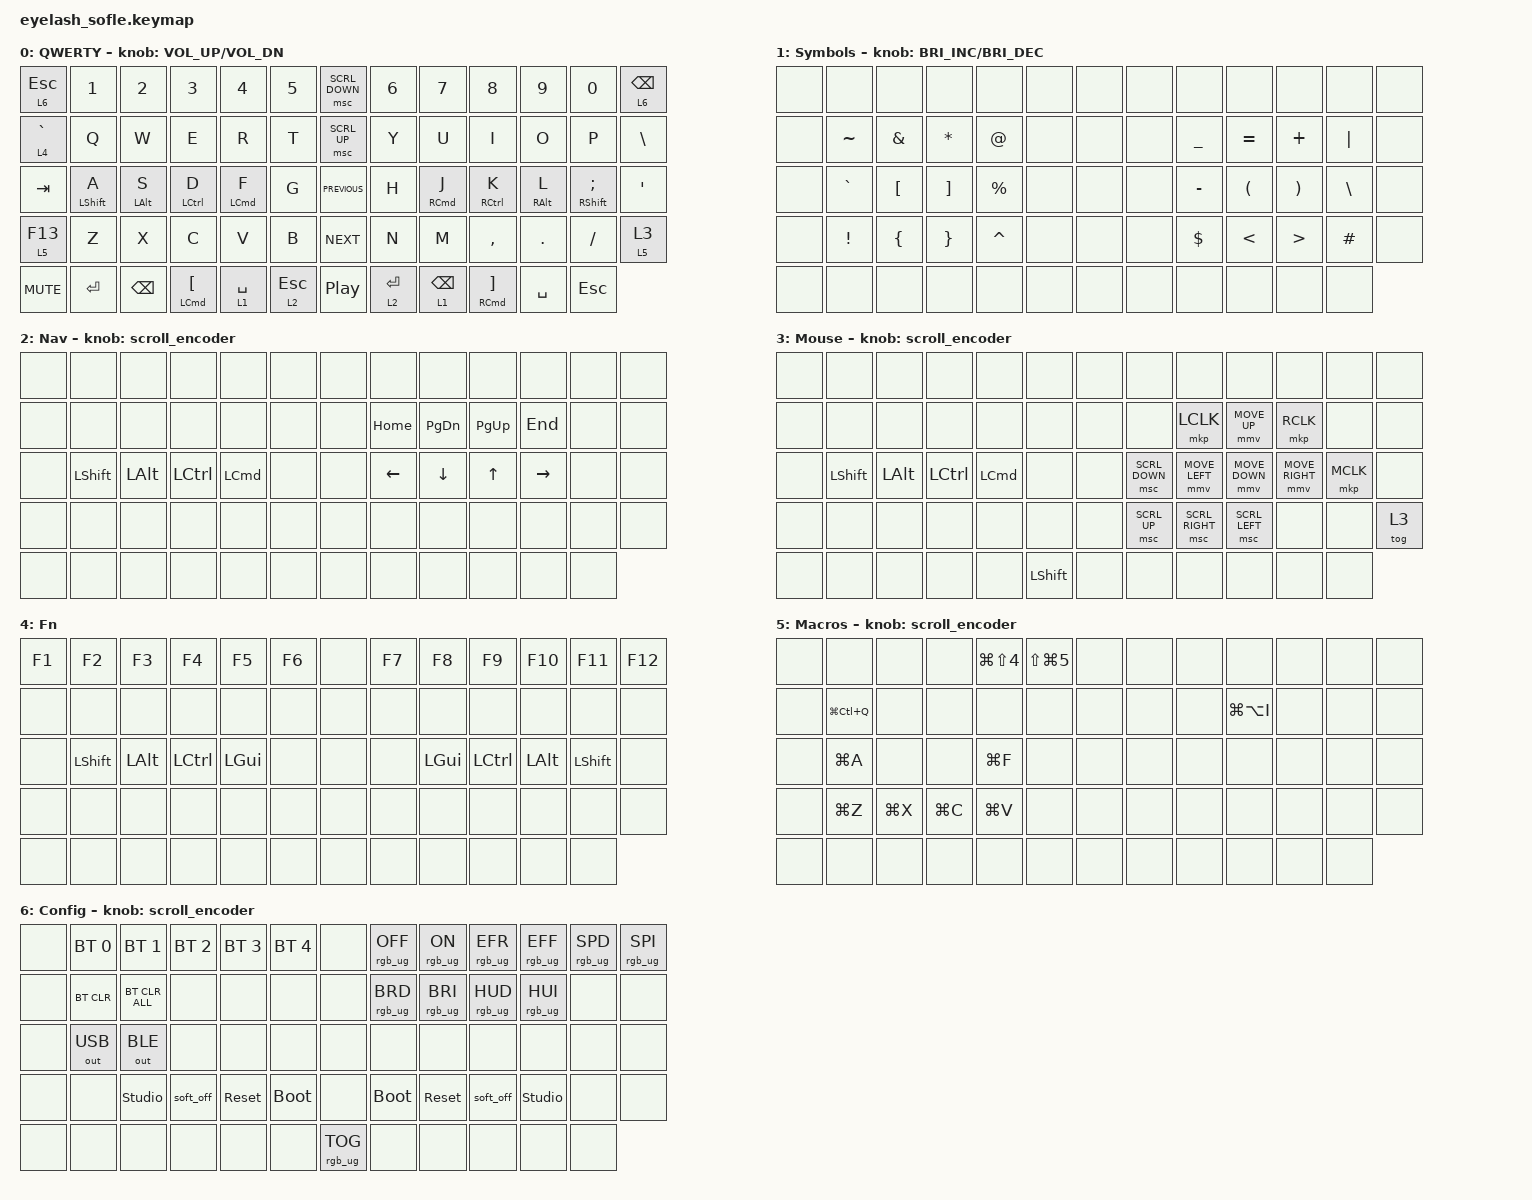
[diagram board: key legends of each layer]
#define ZMK_POINTING_DEFAULT_MOVE_VAL 1200  // 600
#define ZMK_POINTING_DEFAULT_SCRL_VAL 25   // 10

#include <input/processors.dtsi>
#include <zephyr/dt-bindings/input/input-event-codes.h>
#include <behaviors.dtsi>
#include <dt-bindings/zmk/bt.h>
#include <dt-bindings/zmk/keys.h>
#include <dt-bindings/zmk/outputs.h>
#include <dt-bindings/zmk/pointing.h>
#include <dt-bindings/zmk/rgb.h>

&mmv_input_listener { input-processors = <&zip_xy_scaler 2 1>; };

&msc_input_listener { input-processors = <&zip_scroll_scaler 2 1>; };

&msc {
    acceleration-exponent = <1>;      // 0
    time-to-max-speed-ms = <100>;       // 300
    delay-ms = <0>;                   // 0
};

&mmv {
    time-to-max-speed-ms = <500>;
    acceleration-exponent = <1>;
    trigger-period-ms = <16>;
};

&mt {
};

&lt {
    tapping-term-ms = <175>;
    flavor = "balanced";
};

/ {
    scroll_encoder: scroll_encoder {
        compatible = "zmk,behavior-sensor-rotate";
        #sensor-binding-cells = <0>;
        bindings = <&msc SCRL_DOWN>, <&msc SCRL_UP>;

        tap-ms = <100>;
    };

    combos {
        compatible = "zmk,combos";

        combo_caps_word {
            bindings = <&caps_word>;
            key-positions = <56 60>;
            require-prior-idle-ms = <0>;
            layers = <0>;
        };
    };

    behaviors {
        hm: homerow_mod {
            compatible = "zmk,behavior-hold-tap";
            #binding-cells = <2>;
            tapping-term-ms = <200>;
            flavor = "tap-preferred";
            bindings = <&kp>, <&kp>;

            label = "Homerow Mod";
            quick-tap-ms = <150>;
            require-prior-idle-ms = <100>;
        };

        hms: homerow_mod_shift {
            compatible = "zmk,behavior-hold-tap";
            #binding-cells = <2>;
            tapping-term-ms = <175>;
            flavor = "tap-preferred";
            bindings = <&kp>, <&kp>;

            label = "Homerow Mod Shift";
            quick-tap-ms = <150>;
            require-prior-idle-ms = <100>;
        };

        thl: toggle_hold_layer {
            compatible = "zmk,behavior-hold-tap";
            label = "Toggle Hold Layer";
            bindings = <&mo>, <&tog>;

            #binding-cells = <2>;
            tapping-term-ms = <200>;
            flavor = "tap-preferred";
        };

        thumb_mt: thumb_mt {
            compatible = "zmk,behavior-hold-tap";
            #binding-cells = <2>;
            tapping-term-ms = <200>;
            flavor = "tap-preferred";
            bindings = <&kp>, <&kp>;

            label = "Thumb Mod Tap";
            quick-tap-ms = <150>;
            require-prior-idle-ms = <100>;
        };
    };

    keymap {
        compatible = "zmk,keymap";

        QWERTY {
            bindings = <
&lt 6 ESCAPE  &kp N1             &kp N2          &kp N3                               &kp N4              &kp N5          &msc SCRL_DOWN    &kp N6       &kp N7               &kp N8                                 &kp N9           &kp N0                      &lt 6 BACKSPACE
&lt 4 GRAVE   &kp Q              &kp W           &kp E                                &kp R               &kp T           &msc SCRL_UP      &kp Y        &kp U                &kp I                                  &kp O            &kp P                       &kp BSLH
&kp TAB       &hms LEFT_SHIFT A  &hm LEFT_ALT S  &hm LEFT_CONTROL D                   &hm LEFT_COMMAND F  &kp G           &kp C_PREVIOUS    &kp H        &hm RIGHT_COMMAND J  &hm RIGHT_CONTROL K                    &hm RIGHT_ALT L  &hms RIGHT_SHIFT SEMICOLON  &kp APOS
&lt 5 F13     &kp Z              &kp X           &kp C                                &kp V               &kp B           &kp C_NEXT        &kp N        &kp M                &kp COMMA                              &kp DOT          &kp FSLH                    &thl 5 3
&kp C_MUTE    &kp ENTER          &kp BACKSPACE   &thumb_mt LEFT_COMMAND LEFT_BRACKET  &lt 1 SPACE         &lt 2 ESCAPE    &kp C_PLAY_PAUSE  &lt 2 ENTER  &lt 1 BACKSPACE      &thumb_mt RIGHT_COMMAND RIGHT_BRACKET  &kp SPACE        &kp ESCAPE
            >;

            sensor-bindings = <&inc_dec_kp C_VOLUME_UP C_VOL_DN>;
            display-name = "QWERTY";
        };

        Symbols {
            bindings = <
&none  &none      &none             &none              &none        &none    &none  &none  &none       &none                 &none                  &none          &none
&none  &kp TILDE  &kp AMPERSAND     &kp ASTERISK       &kp AT       &none    &none  &none  &kp UNDER   &kp EQUAL             &kp PLUS               &kp PIPE       &none
&none  &kp GRAVE  &kp LEFT_BRACKET  &kp RIGHT_BRACKET  &kp PERCENT  &none    &none  &none  &kp MINUS   &kp LEFT_PARENTHESIS  &kp RIGHT_PARENTHESIS  &kp BACKSLASH  &none
&none  &kp EXCL   &kp LEFT_BRACE    &kp RIGHT_BRACE    &kp CARET    &none    &none  &none  &kp DOLLAR  &kp LESS_THAN         &kp GREATER_THAN       &kp HASH       &none
&none  &none      &none             &none              &none        &none    &none  &none  &none       &none                 &none                  &none
            >;

            display-name = "Symbols";
            sensor-bindings = <&inc_dec_kp C_BRIGHTNESS_INC C_BRIGHTNESS_DEC>;
        };

        Nav {
            bindings = <
&none  &none           &none         &none             &none             &none    &none  &none     &none          &none        &none      &none  &none
&none  &none           &none         &none             &none             &none    &none  &kp HOME  &kp PAGE_DOWN  &kp PAGE_UP  &kp END    &none  &none
&none  &kp LEFT_SHIFT  &kp LEFT_ALT  &kp LEFT_CONTROL  &kp LEFT_COMMAND  &none    &none  &kp LEFT  &kp DOWN       &kp UP       &kp RIGHT  &none  &none
&none  &none           &none         &none             &none             &none    &none  &none     &none          &none        &none      &none  &none
&none  &none           &none         &none             &none             &none    &none  &none     &none          &none        &none      &none
            >;

            display-name = "Nav";
            sensor-bindings = <&scroll_encoder>;
        };

        Mouse {
            display-name = "Mouse";
            bindings = <
&none  &none           &none         &none             &none             &none             &none  &none           &none            &none           &none            &none      &none
&none  &none           &none         &none             &none             &none             &none  &none           &mkp LCLK        &mmv MOVE_UP    &mkp RCLK        &none      &none
&none  &kp LEFT_SHIFT  &kp LEFT_ALT  &kp LEFT_CONTROL  &kp LEFT_COMMAND  &none             &none  &msc SCRL_DOWN  &mmv MOVE_LEFT   &mmv MOVE_DOWN  &mmv MOVE_RIGHT  &mkp MCLK  &none
&none  &none           &none         &none             &none             &none             &none  &msc SCRL_UP    &msc SCRL_RIGHT  &msc SCRL_LEFT  &none            &none      &tog 3
&none  &none           &none         &none             &none             &kp LEFT_SHIFT    &none  &none           &none            &none           &none            &none
            >;

            sensor-bindings = <&scroll_encoder>;
        };

        Fn {
            bindings = <
&kp F1  &kp F2     &kp F3    &kp F4     &kp F5    &kp F6    &none  &kp F7  &kp F8    &kp F9     &kp F10   &kp F11    &kp F12
&none   &none      &none     &none      &none     &none     &none  &none   &none     &none      &none     &none      &none
&none   &kp LSHFT  &kp LALT  &kp LCTRL  &kp LGUI  &none     &none  &none   &kp LGUI  &kp LCTRL  &kp LALT  &kp LSHFT  &none
&none   &none      &none     &none      &none     &none     &none  &none   &none     &none      &none     &none      &none
&none   &none      &none     &none      &none     &none     &none  &none   &none     &none      &none     &none
            >;

            label = "Fn";
        };

        Macros {
            bindings = <
&none  &none          &none      &none      &kp LG(LS(NUMBER_4))  &kp LS(LG(NUMBER_5))    &none  &none  &none  &none          &none  &none  &none
&none  &kp LG(LC(Q))  &none      &none      &none                 &none                   &none  &none  &none  &kp LG(LA(I))  &none  &none  &none
&none  &kp LG(A)      &none      &none      &kp LG(F)             &none                   &none  &none  &none  &none          &none  &none  &none
&none  &kp LG(Z)      &kp LG(X)  &kp LG(C)  &kp LG(V)             &none                   &none  &none  &none  &none          &none  &none  &none
&none  &none          &none      &none      &none                 &none                   &none  &none  &none  &none          &none  &none
            >;

            label = "Macros";
            sensor-bindings = <&scroll_encoder>;
        };

        Config {
            bindings = <
&none  &bt BT_SEL 0  &bt BT_SEL 1    &bt BT_SEL 2  &bt BT_SEL 3  &bt BT_SEL 4    &none            &rgb_ug RGB_OFF  &rgb_ug RGB_ON   &rgb_ug RGB_EFR  &rgb_ug RGB_EFF  &rgb_ug RGB_SPD  &rgb_ug RGB_SPI
&none  &bt BT_CLR    &bt BT_CLR_ALL  &none         &none         &none           &none            &rgb_ug RGB_BRD  &rgb_ug RGB_BRI  &rgb_ug RGB_HUD  &rgb_ug RGB_HUI  &none            &none
&none  &out OUT_USB  &out OUT_BLE    &none         &none         &none           &none            &none            &none            &none            &none            &none            &none
&none  &none         &studio_unlock  &soft_off     &sys_reset    &bootloader     &none            &bootloader      &sys_reset       &soft_off        &studio_unlock   &none            &none
&none  &none         &none           &none         &none         &none           &rgb_ug RGB_TOG  &none            &none            &none            &none            &none
            >;

            display-name = "Config";
            sensor-bindings = <&scroll_encoder>;
        };
    };
};
